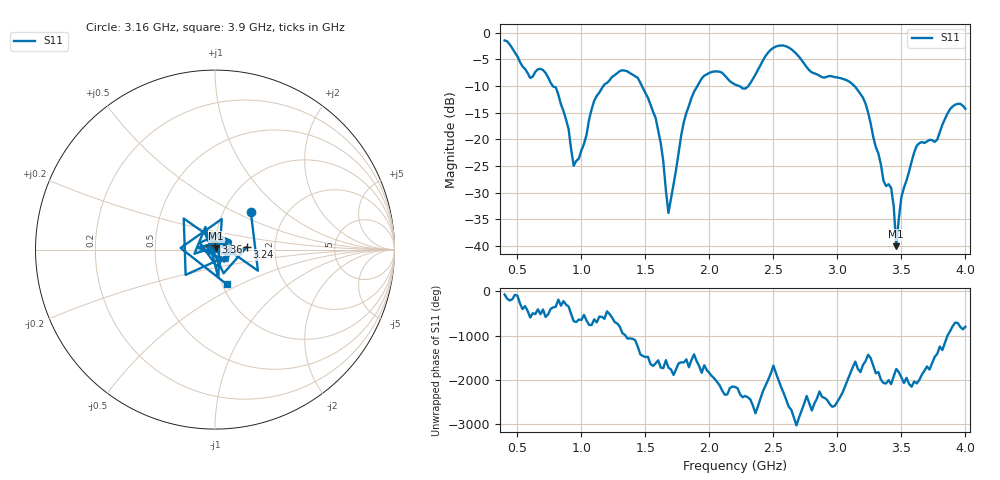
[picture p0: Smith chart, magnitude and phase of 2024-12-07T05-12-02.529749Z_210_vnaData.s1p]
!Created with skrf (http://scikit-rf.org).
# Hz S RI R 50.0
!freq ReS11 ImS11
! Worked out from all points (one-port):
!   181 points, 400 MHz to 4 GHz, reference 50 ohm
!   lowest |S11| = -40.0 dB at 3.46 GHz (marker M1), VSWR 1.02, Z = 50.7 + j0.714 ohm
!   |S11| at or under -10 dB: 776.9 MHz to 1.171 GHz (394.5 MHz wide, 40.5 % of centre); 1.473 GHz to 1.906 GHz (433.2 MHz wide, 25.6 % of centre); 3.133 GHz to end of sweep (the widest 3 of 4)
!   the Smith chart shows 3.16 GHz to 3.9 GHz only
!   S11 on the Smith chart (normalised r, x): 3.16 GHz: 1.34, +0.61; 3.24 GHz: 1.43, +0.04; 3.36 GHz: 1.00, +0.08; 3.9 GHz: 1.05, -0.42
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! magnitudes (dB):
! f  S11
! 400 MHz  -1.4
! 600 MHz  -8.5
! 720 MHz  -7.5
! 860 MHz  -14.7
! 940 MHz  -24.9
! 1.1 GHz  -12.7
! 1.3 GHz  -7.2
! 1.44 GHz  -8.5
! 1.58 GHz  -16.0
! 1.68 GHz  -33.8
! 1.76 GHz  -22.5
! 1.82 GHz  -15.0
! 1.94 GHz  -8.6
! 2.2 GHz  -9.7
! 2.3 GHz  -10.1
! 2.5 GHz  -2.8
! 2.66 GHz  -3.5
! 3.1 GHz  -9.3
! 3.16 GHz  -10.8
! 3.24 GHz  -15.0
! 3.36 GHz  -27.7
! 3.42 GHz  -29.1
! 3.46 GHz  -40.0
! 3.5 GHz  -30.8
! 3.56 GHz  -26.0
! 3.62 GHz  -21.2
! 3.9 GHz  -13.8
! 4 GHz  -14.3
